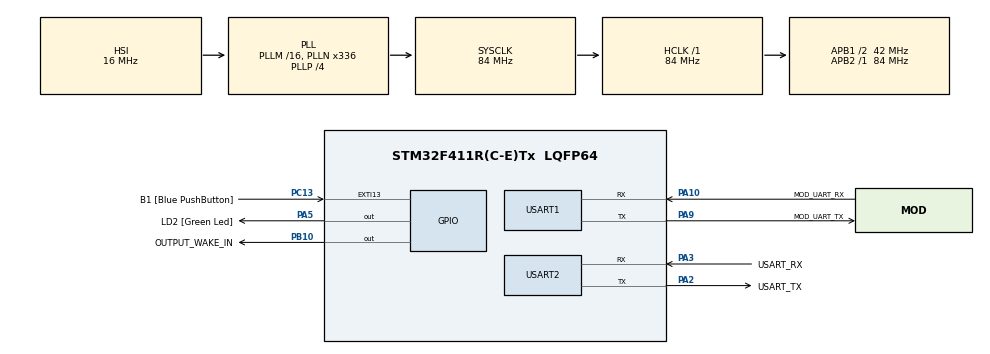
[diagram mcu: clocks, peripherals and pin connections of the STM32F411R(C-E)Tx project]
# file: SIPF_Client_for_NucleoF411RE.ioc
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Mcu.Family=STM32F4
PC15-OSC32_OUT.Mode=LSE-External-Oscillator
RCC.CortexFreq_Value=84000000
Dma.USART1_RX.0.PeriphDataAlignment=DMA_PDATAALIGN_BYTE
PA10.Mode=Asynchronous
PB10.GPIO_PuPd=GPIO_PULLDOWN
PC13-ANTI_TAMP.GPIO_Label=B1 [Blue PushButton]
PA9.GPIO_Label=MOD_UART_TX
PA14.GPIO_Label=TCK
PH1\ -\ OSC_OUT.Mode=HSE-External-Clock-Source
RCC.APB1CLKDivider=RCC_HCLK_DIV2
PC14-OSC32_IN.Signal=RCC_OSC32_IN
RCC.SYSCLKSource=RCC_SYSCLKSOURCE_PLLCLK
ProjectManager.StackSize=0x400
PA3.Mode=Asynchronous
PA13.Signal=SYS_JTMS-SWDIO
PA9.Mode=Asynchronous
PH0\ -\ OSC_IN.Mode=HSE-External-Clock-Source
PH0\ -\ OSC_IN.Signal=RCC_OSC_IN
ProjectManager.TargetToolchain=STM32CubeIDE
PB10.GPIO_Label=OUTPUT_WAKE_IN
Dma.USART1_RX.0.Direction=DMA_PERIPH_TO_MEMORY
RCC.HCLKFreq_Value=84000000
RCC.APB2TimFreq_Value=84000000
PA9.Signal=USART1_TX
PC15-OSC32_OUT.Signal=RCC_OSC32_OUT
RCC.AHBFreq_Value=84000000
Dma.USART1_RX.0.PeriphInc=DMA_PINC_DISABLE
Dma.USART1_RX.0.Priority=DMA_PRIORITY_LOW
PB10.Signal=GPIO_Output
PA5.Signal=GPIO_Output
RCC.HSE_VALUE=8000000
PH1\ -\ OSC_OUT.Signal=RCC_OSC_OUT
board=NUCLEO-F411RE
PC13-ANTI_TAMP.Signal=GPXTI13
RCC.VCOOutputFreq_Value=336000000
RCC.APB2Freq_Value=84000000
PC14-OSC32_IN.Mode=LSE-External-Oscillator
PA14.Mode=Serial_Wire
PA10.GPIO_Label=MOD_UART_RX
Dma.USART1_RX.0.MemDataAlignment=DMA_MDATAALIGN_BYTE
Dma.USART1_RX.0.MemInc=DMA_MINC_ENABLE
PA13.Mode=Serial_Wire
Mcu.Name=STM32F411R(C-E)Tx
PA2.Signal=USART2_TX
PA13.GPIO_Label=TMS
RCC.FLatency-AdvancedSettings=FLASH_LATENCY_2
RCC.48MHZClocksFreq_Value=84000000
PB3.Signal=SYS_JTDO-SWO
RCC.SYSCLKFreq_VALUE=84000000
Mcu.Package=LQFP64
PA5.GPIO_Label=LD2 [Green Led]
USART2.VirtualMode=VM_ASYNC
USART1.VirtualMode=VM_ASYNC
PC13-ANTI_TAMP.GPIO_ModeDefaultEXTI=GPIO_MODE_IT_FALLING
PA2.GPIO_Label=USART_TX
PA10.Signal=USART1_RX
PA14.Signal=SYS_JTCK-SWCLK
ProjectManager.HeapSize=0x200
RCC.HSI_VALUE=16000000
RCC.PLLP=RCC_PLLP_DIV4
NVIC.PriorityGroup=NVIC_PRIORITYGROUP_0
Dma.USART1_RX.0.FIFOMode=DMA_FIFOMODE_DISABLE
NVIC.DMA2_Stream2_IRQn=true\:0\:0\:false\:false\:true\:false\:true
RCC.PLLN=336
RCC.APB1TimFreq_Value=84000000
PA2.Mode=Asynchronous
Dma.USART1_RX.0.Mode=DMA_CIRCULAR
Dma.Request0=USART1_RX
RCC.APB1Freq_Value=42000000
Dma.USART1_RX.0.Instance=DMA2_Stream2
PA3.GPIO_Label=USART_RX
PA3.Signal=USART2_RX
PB3.GPIO_Label=SWO

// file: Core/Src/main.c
/* USER CODE BEGIN Header */
/**
  ******************************************************************************
  * @file           : main.c
  * @brief          : Main program body
  ******************************************************************************
  * @attention
  *
  * <h2><center>&copy; Copyright (c) 2021 STMicroelectronics.
  * All rights reserved.</center></h2>
  *
  * This software component is licensed by ST under BSD 3-Clause license,
  * the "License"; You may not use this file except in compliance with the
  * License. You may obtain a copy of the License at:
  *                        opensource.org/licenses/BSD-3-Clause
  *
  ******************************************************************************
  */

/*
 * (Added `USER CODE')
 * Copyright (c) 2021 Sakura Internet Inc.
 *
 * SPDX-License-Identifier: MIT
 */
/* USER CODE END Header */
#include "main.h"

/* USER CODE BEGIN Includes */
#include <stdio.h>
#include <stdarg.h>
#include <string.h>
#include <time.h>
#include "sipf_client.h"
#include "xmodem.h"
/* USER CODE END Includes */

/* USER CODE BEGIN PD */
#define SW_POLL_TIMEOUT (100)
/* USER CODE END PD */

UART_HandleTypeDef huart1;
UART_HandleTypeDef huart2;
DMA_HandleTypeDef hdma_usart1_rx;

/* USER CODE BEGIN PV */
static uint8_t buff[256];
/* USER CODE END PV */

void SystemClock_Config(void);
static void MX_GPIO_Init(void);
static void MX_DMA_Init(void);
static void MX_USART2_UART_Init(void);
static void MX_USART1_UART_Init(void);
/* USER CODE BEGIN PFP */
void SipfClientUartInit(UART_HandleTypeDef *puart);
/* USER CODE END PFP */

/* USER CODE BEGIN 0 */
int print_msg(const char *fmt, ...)
{
    static char msg[128];
    int  len;

    va_list list;
    va_start(list, fmt);
    len = vsprintf(msg, fmt, list);
    va_end(list);

    HAL_UART_Transmit(&huart2, (uint8_t*)msg, len, 100);

    return len;
}

static void requestResetModule(void)
{
    // Reset request.
    HAL_GPIO_WritePin(OUTPUT_WAKE_IN_GPIO_Port, OUTPUT_WAKE_IN_Pin, GPIO_PIN_SET);
    HAL_Delay(10);
    HAL_GPIO_WritePin(OUTPUT_WAKE_IN_GPIO_Port, OUTPUT_WAKE_IN_Pin, GPIO_PIN_RESET);

    HAL_Delay(200);
}

static int waitBootModule(void)
{
    int len, is_echo = 0;

    // Wait READY message.
    for (;;) {
        len = SipfUtilReadLine(buff, sizeof(buff), 65000);
        if (len < 0) {
            // ERROR or BUSY or TIMEOUT
            return len;
        }
        if (len == 0) {
            continue;
        }
        if (len >= 13) {
            if (memcmp(buff, "*** SIPF Client", 15) == 0) {
                is_echo = 1;
            }
            //Detect READY message.
            if (memcmp(buff, "+++ Ready +++", 13) == 0) {
                break;
            }
            if (memcmp(buff, "ERR:Faild", 9) == 0) {
                print_msg("%s\r\n", buff);
                return -1;
            }
        }
        if (is_echo) {
            print_msg("%s\r\n", buff);
        }
    }
    return 0;
}

/* USER CODE END 0 */

int main(void)
{
  /* USER CODE BEGIN 1 */
  int ret;
  uint32_t fw_version;
  /* USER CODE END 1 */

  /* MCU Configuration--------------------------------------------------------*/

  /* Reset of all peripherals, Initializes the Flash interface and the Systick. */
  HAL_Init();

  /* Configure the system clock */
  SystemClock_Config();

  /* Initialize all configured peripherals */
  MX_GPIO_Init();
  MX_DMA_Init();
  MX_USART2_UART_Init();
  MX_USART1_UART_Init();
  /* USER CODE BEGIN 2 */
  print_msg("*** SIPF Client for Nucleo(");
#if defined(SAMPLE_TX)
  print_msg("TX SAMPLE APP");
#elif defined(SAMPLE_RX)
  print_msg("RX SAMPLE APP");
#elif defined(SAMPLE_FPUT)
  print_msg("FPUT SAMPLE APP");
#else
#error Please select Sample Application.(Declare SAMPLE_XX to '1' on main.h)
#endif
  print_msg(")***\r\n");

  SipfClientUartInit(&huart1);

  print_msg("Request module reset.\r\n");
  requestResetModule();

  print_msg("Waiting module boot\r\n");
  print_msg("### MODULE OUTPUT ###\r\n");
  ret = waitBootModule();
  if (ret != 0) {
      print_msg("FAILED(%d)\r\n", ret);
      return -1;
  }
  print_msg("#####################\r\n");
  print_msg("OK\r\n");

  HAL_Delay(100);

  ret = SipfReadFwVersion(&fw_version);
  if (ret != 0) {
      print_msg("SipfReadFwVersion(): FAILED\r\n");
  }

#if AUTH_MODE
  if (fw_version < 0x00040000) {    // ver.0.4.0未満なら認証モード切り替えを行う
      print_msg("Set Auth mode... ");
      ret = SipfSetAuthMode(0x01);
      if (ret != 0) {
        print_msg("FAILED(%d)\r\n", ret);
        return -1;
      }
      print_msg("OK\r\n");
  }
#endif
  SipfClientFlushReadBuff();

  print_msg("+++ Ready +++\r\n");
  /* USER CODE END 2 */

  /* Infinite loop */
  /* USER CODE BEGIN WHILE */
#if defined(SAMPLE_TX)
  uint32_t count_tx = 1;
#endif
  uint32_t poll_timeout = uwTick + SW_POLL_TIMEOUT;
  GPIO_PinState prev_ps = GPIO_PIN_SET;
  while (1)
  {
    /* USER CODE END WHILE */

    /* USER CODE BEGIN 3 */
    uint8_t b;
    for (;;) {
        if (SipfClientUartReadByte(&b) != -1) {
            HAL_UART_Transmit(&huart2, &b, 1, 0);
        } else {
            break;
        }
    }
    for (;;) {
        if (HAL_UART_Receive(&huart2, &b, 1, 0) == HAL_OK) {
            SipfClientUartWriteByte(b);
        } else {
            break;
        }
    }

    // B2 Push
    if (((int)poll_timeout - (int)uwTick) <= 0) {
        poll_timeout = uwTick + SW_POLL_TIMEOUT;
        GPIO_PinState ps;
        ps = HAL_GPIO_ReadPin(B1_GPIO_Port, B1_Pin);
        if ((prev_ps == GPIO_PIN_SET) && (ps == GPIO_PIN_RESET)) {
            memset(buff, 0, sizeof(buff));

#if defined(SAMPLE_TX)
            print_msg("B1 PUSHED\r\nTX(tag_id: 0x01, type: 0x04, value: %d)\r\n", count_tx);

            ret = SipfCmdTx(0x01, 0x04, (uint8_t*)&count_tx, 4, buff);
            switch (ret) {
            case 0:
                print_msg("OK(OTID: %s)\r\n", buff);
                count_tx++;
                break;
            case -3:
                print_msg("Receive Timeout...\r\n");
                break;
            default:
                print_msg("NG\r\n");
                break;
            }
#elif defined(SAMPLE_RX)
            print_msg("B1 PUSHED\r\nRX\r\n");
            SipfObjObject objs[16];
            uint64_t stm, rtm;
            uint8_t remain, qty;
            ret = SipfCmdRx(buff, &stm, &rtm, &remain, &qty, objs, 16);
            if (ret > 0) {
                time_t t;
                struct tm *ptm;
                static char ts[128];
                print_msg("OTID:%s\r\n", buff);
                /* USER_SEND_DATE_TIME*/
                t = (time_t)stm / 1000;
                ptm = localtime(&t);
                strftime(ts, sizeof(ts),"User send datetime(UTC)    : %Y/%m/%d %H:%M:%S\r\n", ptm);
                print_msg(ts);
                /* SIPF_RECEIVE_DATE_TIME*/
                t = (time_t)rtm / 1000;
                ptm = localtime(&t);
                strftime(ts, sizeof(ts),"SIPF received datetime(UTC): %Y/%m/%d %H:%M:%S\r\n", ptm);
                print_msg(ts);
                /* REMAIN / QTY */
                print_msg("remain:%d\r\nqty:%d\r\n", remain, qty);

                SipfObjPrimitiveType v;
                for (int i = 0; i < ret; i++) {
                    //受信データあった
                    print_msg("obj[%d]: tag=0x%02x, type=0x%02x, len=%d, value=", i, objs[i].tag_id, objs[i].type, objs[i].value_len);
                    uint8_t *p_value = objs[i].value;
                    switch (objs[i].type) {
                    case OBJ_TYPE_UINT8:
                        memcpy(v.b, p_value, sizeof(uint8_t));
                        print_msg("%u\r\n", v.u8);
                        break;
                    case OBJ_TYPE_INT8:
                        memcpy(v.b, p_value, sizeof(int8_t));
                        print_msg("%d\r\n", v.i8);
                        break;
                    case OBJ_TYPE_UINT16:
                        memcpy(v.b, p_value, sizeof(uint16_t));
                        print_msg("%u\r\n", v.u16);
                        break;
                    case OBJ_TYPE_INT16:
                        memcpy(v.b, p_value, sizeof(int16_t));
                        print_msg("%d\r\n", v.i16);
                        break;
                    case OBJ_TYPE_UINT32:
                        memcpy(v.b, p_value, sizeof(uint32_t));
                        print_msg("%u\r\n", v.u32);
                        break;
                    case OBJ_TYPE_INT32:
                        memcpy(v.b, p_value, sizeof(int32_t));
                        print_msg("%d\r\n", v.i32);
                        break;
                    case OBJ_TYPE_UINT64:
                        memcpy(v.b, p_value, sizeof(uint64_t));
                        print_msg("%llu\r\n", v.u64);
                        break;
                    case OBJ_TYPE_INT64:
                        memcpy(v.b, p_value, sizeof(int64_t));
                        print_msg("%lld\r\n", v.i64);
                        break;
                    case OBJ_TYPE_FLOAT32:
                        memcpy(v.b, p_value, sizeof(float));
                        print_msg("%f\r\n", v.f);
                        break;
                    case OBJ_TYPE_FLOAT64:
                        memcpy(v.b, p_value, sizeof(double));
                        print_msg("%lf\r\n", v.d);
                        break;
                    case OBJ_TYPE_BIN:
                        print_msg("0x");
                        for (int j = 0; j < objs[i].value_len; j++) {
                            print_msg("%02x", objs[i].value[j]);
                        }
                        print_msg("\r\n");
                        break;
                    case OBJ_TYPE_STR_UTF8:
                        for (int j = 0; j < objs[i].value_len; j++) {
                            print_msg("%c", objs[i].value[j]);
                        }
                        print_msg("\r\n");
                        break;
                    default:
                        break;
                    }
                    // LED2 ON/OFF サンプル
                    if ((objs[i].tag_id == 0x4c) && (objs[i].type == OBJ_TYPE_UINT8)) {
                        //Tag='L' で Type=uint8の場合
                        if (*(uint8_t*)objs[i].value == 0) {
                            // LED消す
                            print_msg("LED2(GREEN): OFF\r\n");
                            HAL_GPIO_WritePin(LD2_GPIO_Port, LD2_Pin, GPIO_PIN_RESET);
                        } else {
                            // LED付ける
                            print_msg("LED2(GREEN): ON\r\n");
                            HAL_GPIO_WritePin(LD2_GPIO_Port, LD2_Pin, GPIO_PIN_SET);
                        }
                    }
                }
                print_msg("RX done.\r\n");
            } else if (ret == 0) {
                //受信データなかった
                print_msg("SipfCmdRx() empty\r\n");
            } else {
                //エラーだった
                print_msg("SipfCmdRx() failed: %d\r\n", ret);
            }
#elif defined(SAMPLE_FPUT)
            print_msg("B1 PUSHED\r\nFile put: FPUT_SAMPLE.txt\r\n");
            int len = sprintf((char*)buff, "Tick:0x%08lx\r\n", uwTick);
            for (int i = 0; i < (sizeof(buff) - len); i++) {
                buff[len+i] = (uint8_t)(i % 0x5f) + 0x20;
            }
            ret = SipfCmdFput("FPUT_SAMPLE.txt", buff, sizeof(buff));
            if (ret == 0) {
                print_msg("Done\r\n");
            } else {
                print_msg("Failed(%d)\r\n", ret);
            }
#endif
        }

        prev_ps = ps;
    }
  }
  /* USER CODE END 3 */
}

void SystemClock_Config(void)
{
  RCC_OscInitTypeDef RCC_OscInitStruct = {0};
  RCC_ClkInitTypeDef RCC_ClkInitStruct = {0};

  /** Configure the main internal regulator output voltage
  */
  __HAL_RCC_PWR_CLK_ENABLE();
  __HAL_PWR_VOLTAGESCALING_CONFIG(PWR_REGULATOR_VOLTAGE_SCALE1);
  /** Initializes the RCC Oscillators according to the specified parameters
  * in the RCC_OscInitTypeDef structure.
  */
  RCC_OscInitStruct.OscillatorType = RCC_OSCILLATORTYPE_HSI;
  RCC_OscInitStruct.HSIState = RCC_HSI_ON;
  RCC_OscInitStruct.HSICalibrationValue = RCC_HSICALIBRATION_DEFAULT;
  RCC_OscInitStruct.PLL.PLLState = RCC_PLL_ON;
  RCC_OscInitStruct.PLL.PLLSource = RCC_PLLSOURCE_HSI;
  RCC_OscInitStruct.PLL.PLLM = 16;
  RCC_OscInitStruct.PLL.PLLN = 336;
  RCC_OscInitStruct.PLL.PLLP = RCC_PLLP_DIV4;
  RCC_OscInitStruct.PLL.PLLQ = 4;
  if (HAL_RCC_OscConfig(&RCC_OscInitStruct) != HAL_OK)
  {
    Error_Handler();
  }
  /** Initializes the CPU, AHB and APB buses clocks
  */
  RCC_ClkInitStruct.ClockType = RCC_CLOCKTYPE_HCLK|RCC_CLOCKTYPE_SYSCLK
                              |RCC_CLOCKTYPE_PCLK1|RCC_CLOCKTYPE_PCLK2;
  RCC_ClkInitStruct.SYSCLKSource = RCC_SYSCLKSOURCE_PLLCLK;
  RCC_ClkInitStruct.AHBCLKDivider = RCC_SYSCLK_DIV1;
  RCC_ClkInitStruct.APB1CLKDivider = RCC_HCLK_DIV2;
  RCC_ClkInitStruct.APB2CLKDivider = RCC_HCLK_DIV1;

  if (HAL_RCC_ClockConfig(&RCC_ClkInitStruct, FLASH_LATENCY_2) != HAL_OK)
  {
    Error_Handler();
  }
}

static void MX_USART1_UART_Init(void)
{

  huart1.Instance = USART1;
  huart1.Init.BaudRate = 115200;
  huart1.Init.WordLength = UART_WORDLENGTH_8B;
  huart1.Init.StopBits = UART_STOPBITS_1;
  huart1.Init.Parity = UART_PARITY_NONE;
  huart1.Init.Mode = UART_MODE_TX_RX;
  huart1.Init.HwFlowCtl = UART_HWCONTROL_NONE;
  huart1.Init.OverSampling = UART_OVERSAMPLING_16;
  if (HAL_UART_Init(&huart1) != HAL_OK)
  {
    Error_Handler();
  }

}

static void MX_USART2_UART_Init(void)
{

  huart2.Instance = USART2;
  huart2.Init.BaudRate = 115200;
  huart2.Init.WordLength = UART_WORDLENGTH_8B;
  huart2.Init.StopBits = UART_STOPBITS_1;
  huart2.Init.Parity = UART_PARITY_NONE;
  huart2.Init.Mode = UART_MODE_TX_RX;
  huart2.Init.HwFlowCtl = UART_HWCONTROL_NONE;
  huart2.Init.OverSampling = UART_OVERSAMPLING_16;
  if (HAL_UART_Init(&huart2) != HAL_OK)
  {
    Error_Handler();
  }

}

static void MX_DMA_Init(void)
{

  /* DMA controller clock enable */
  __HAL_RCC_DMA2_CLK_ENABLE();

  /* DMA interrupt init */
  /* DMA2_Stream2_IRQn interrupt configuration */
  HAL_NVIC_SetPriority(DMA2_Stream2_IRQn, 0, 0);
  HAL_NVIC_EnableIRQ(DMA2_Stream2_IRQn);

}

static void MX_GPIO_Init(void)
{
  GPIO_InitTypeDef GPIO_InitStruct = {0};

  /* GPIO Ports Clock Enable */
  __HAL_RCC_GPIOC_CLK_ENABLE();
  __HAL_RCC_GPIOH_CLK_ENABLE();
  __HAL_RCC_GPIOA_CLK_ENABLE();
  __HAL_RCC_GPIOB_CLK_ENABLE();

  /*Configure GPIO pin Output Level */
  HAL_GPIO_WritePin(LD2_GPIO_Port, LD2_Pin, GPIO_PIN_RESET);

  /*Configure GPIO pin Output Level */
  HAL_GPIO_WritePin(OUTPUT_WAKE_IN_GPIO_Port, OUTPUT_WAKE_IN_Pin, GPIO_PIN_RESET);

  /*Configure GPIO pin : B1_Pin */
  GPIO_InitStruct.Pin = B1_Pin;
  GPIO_InitStruct.Mode = GPIO_MODE_IT_FALLING;
  GPIO_InitStruct.Pull = GPIO_NOPULL;
  HAL_GPIO_Init(B1_GPIO_Port, &GPIO_InitStruct);

  /*Configure GPIO pin : LD2_Pin */
  GPIO_InitStruct.Pin = LD2_Pin;
  GPIO_InitStruct.Mode = GPIO_MODE_OUTPUT_PP;
  GPIO_InitStruct.Pull = GPIO_NOPULL;
  GPIO_InitStruct.Speed = GPIO_SPEED_FREQ_LOW;
  HAL_GPIO_Init(LD2_GPIO_Port, &GPIO_InitStruct);

  /*Configure GPIO pin : OUTPUT_WAKE_IN_Pin */
  GPIO_InitStruct.Pin = OUTPUT_WAKE_IN_Pin;
  GPIO_InitStruct.Mode = GPIO_MODE_OUTPUT_PP;
  GPIO_InitStruct.Pull = GPIO_PULLDOWN;
  GPIO_InitStruct.Speed = GPIO_SPEED_FREQ_LOW;
  HAL_GPIO_Init(OUTPUT_WAKE_IN_GPIO_Port, &GPIO_InitStruct);

}

/* USER CODE BEGIN 4 */
void XmodemDelay(uint32_t delay)
{
    HAL_Delay(delay);
}

#define XMODEM_UART huart1
int XmodemGetByte(uint8_t *b)
{
    int ret = SipfClientUartReadByte(b);
    if (ret == -1) {
        //EMPTY
        return -1;
    }
    return 0;
}

int XmodemGetByteTimeout(uint8_t *b, uint32_t timeout)
{
    int ret;
    uint32_t read_timeout = uwTick + timeout;
    for (;;) {
        if (!SipfClientUartIsEmpty()) {
            ret = SipfClientUartReadByte(b);
            if (ret == -1) {
                return -1;
            }
            return 0;
        }
        if (((int)read_timeout - (int)uwTick) <= 0) {
            //リードタイムアウト
            return -1;
        }
    }
}

int XmodemPutByte(uint8_t b)
{
    int ret = 0;
    HAL_StatusTypeDef hal_ret = HAL_UART_Transmit(&XMODEM_UART, &b, 1, 0);
    if (hal_ret == HAL_TIMEOUT) {
        ret = -3;
    }
    if (hal_ret == HAL_ERROR) {
        ret = -1;
    }
    return ret;
}

int XmodemPut(uint8_t *buff, int sz)
{
    int ret = 0;
    HAL_StatusTypeDef hal_ret = HAL_UART_Transmit(&XMODEM_UART, buff, (uint16_t)sz, 100);
    if (hal_ret == HAL_TIMEOUT) {
        ret = -3;
    }
    if (hal_ret == HAL_ERROR) {
        ret = -1;
    }
    return ret;
}
/* USER CODE END 4 */

void Error_Handler(void)
{
  __disable_irq();
  while (1)
  {
  }
}

/************************ (C) COPYRIGHT STMicroelectronics *****END OF FILE****/
